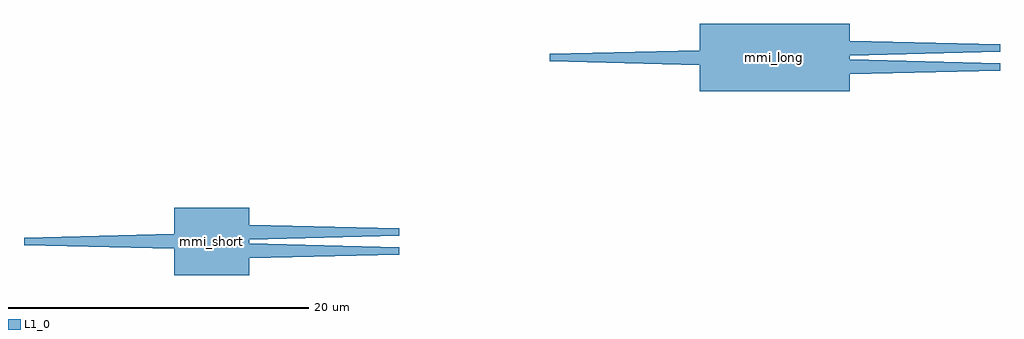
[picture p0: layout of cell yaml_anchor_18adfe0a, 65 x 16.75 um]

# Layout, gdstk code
import gdstk
lib = gdstk.Library(unit=1e-6, precision=1e-09)
def R(c, l, rs):  # rectangles x0, y0, x1, y1
    for r in rs: c.add(gdstk.rectangle(r[:2], r[2:], *l))
def P(c, l, *ps):  # polygons
    for p in ps: c.add(gdstk.Polygon(p, *l))
L1_0 = (1, 0)

mmi1x2_length_mmi10_widt = lib.new_cell('mmi1x2_length_mmi10_width_mmi4p5')
R(mmi1x2_length_mmi10_widt, L1_0, [(0,-2.25,10,2.25)])
P(mmi1x2_length_mmi10_widt, L1_0, [(-10,0.25),(0,0.5),(0,-0.5),(-10,-0.25)],
  [(20,0.375),(10,0.125),(10,1.125),(20,0.875)],
  [(20,-0.875),(10,-1.125),(10,-0.125),(20,-0.375)])

mmi1x2_length_mmi5_width = lib.new_cell('mmi1x2_length_mmi5_width_mmi4p5')
R(mmi1x2_length_mmi5_width, L1_0, [(0,-2.25,5,2.25)])
P(mmi1x2_length_mmi5_width, L1_0, [(-10,0.25),(0,0.5),(0,-0.5),(-10,-0.25)],
  [(15,0.375),(5,0.125),(5,1.125),(15,0.875)],
  [(15,-0.875),(5,-1.125),(5,-0.125),(15,-0.375)])

yaml_anchor_18adfe0a = lib.new_cell('yaml_anchor_18adfe0a')
yaml_anchor_18adfe0a.add(gdstk.Reference(mmi1x2_length_mmi10_widt, (20,12.875)))
yaml_anchor_18adfe0a.add(gdstk.Reference(mmi1x2_length_mmi5_width, (-15,0.625)))
yaml_anchor_18adfe0a.add(gdstk.Label('mmi_long', (25,12.875), layer=206, texttype=0))
yaml_anchor_18adfe0a.add(gdstk.Label('mmi_short', (-12.5,0.625), layer=206, texttype=0))

lib.write_gds('yaml_anchor_18adfe0a.gds')
